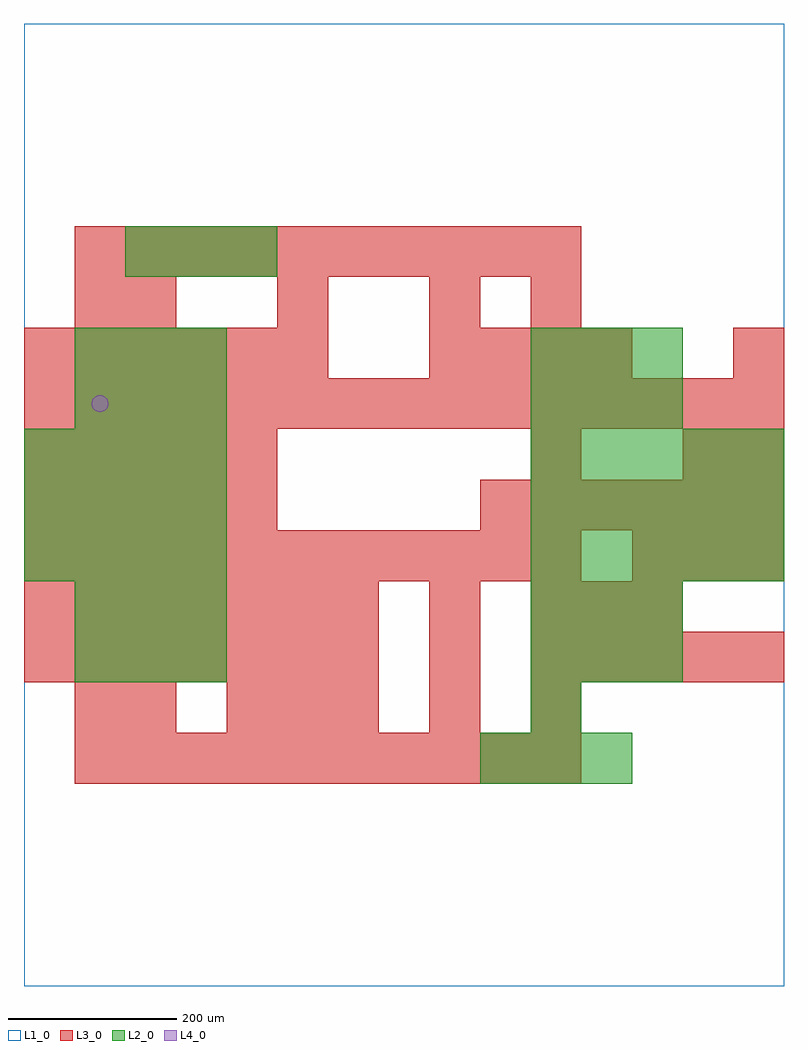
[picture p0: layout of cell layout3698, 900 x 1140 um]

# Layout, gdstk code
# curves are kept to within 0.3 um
import gdstk
lib = gdstk.Library(unit=1e-6, precision=1e-09)
def R(c, l, rs):  # rectangles x0, y0, x1, y1
    for r in rs: c.add(gdstk.rectangle(r[:2], r[2:], *l))
def A(c, l, x, y, w, h, nx, ny, dx, dy):  # array of equal rectangles
    R(c, l, [(x+i*dx, y+j*dy, x+i*dx+w, y+j*dy+h) for i in range(nx) for j in range(ny)])
def P(c, l, *ps):  # polygons
    for p in ps: c.add(gdstk.Polygon(p, *l))
L1_0 = (1, 0)
L2_0 = (2, 0)
L3_0 = (3, 0)
L4_0 = (4, 0)

layout3698 = lib.new_cell('layout3698')
R(layout3698, L1_0, [(0,0,900,1140)])
A(layout3698, L2_0, 540, 240, 60, 60, 3, 1, 60, 0)
A(layout3698, L2_0, 60, 360, 60, 60, 3, 2, 60, 60)
A(layout3698, L2_0, 600, 360, 60, 60, 3, 2, 60, 60)
A(layout3698, L2_0, 0, 480, 60, 60, 4, 3, 60, 60)
A(layout3698, L2_0, 600, 480, 60, 60, 5, 3, 60, 60)
A(layout3698, L2_0, 60, 660, 60, 60, 3, 2, 60, 60)
A(layout3698, L2_0, 600, 660, 60, 60, 3, 2, 60, 60)
A(layout3698, L2_0, 120, 840, 60, 60, 3, 1, 60, 0)
R(layout3698, L2_0, [(600,300,660,360)])
A(layout3698, L3_0, 60, 240, 60, 60, 10, 2, 60, 600)
A(layout3698, L3_0, 240, 300, 60, 60, 3, 1, 60, 0)
A(layout3698, L3_0, 480, 300, 60, 60, 1, 3, 0, 60)
A(layout3698, L3_0, 0, 360, 60, 60, 7, 2, 60, 60)
A(layout3698, L3_0, 600, 360, 60, 60, 5, 1, 60, 0)
A(layout3698, L3_0, 600, 420, 60, 60, 3, 1, 60, 0)
A(layout3698, L3_0, 0, 480, 60, 60, 11, 1, 60, 0)
A(layout3698, L3_0, 720, 480, 60, 60, 3, 1, 60, 0)
A(layout3698, L3_0, 0, 540, 60, 60, 5, 2, 60, 60)
A(layout3698, L3_0, 540, 540, 60, 60, 6, 1, 60, 0)
A(layout3698, L3_0, 0, 660, 60, 60, 15, 1, 60, 0)
A(layout3698, L3_0, 0, 720, 60, 60, 6, 1, 60, 0)
A(layout3698, L3_0, 480, 720, 60, 60, 4, 1, 60, 0)
A(layout3698, L3_0, 120, 780, 60, 60, 3, 1, 180, 0)
R(layout3698, L3_0, [(60,300,120,360), (120,300,180,360), (600,300,660,360), (600,600,660,660), (780,600,840,660), (840,600,900,660), (840,720,900,780), (60,780,120,840), (600,780,660,840)])
P(layout3698, L4_0, [(100,690),(99.239,693.827),(97.071,697.071),(93.827,699.239),(90,700),(86.173,699.239),(82.929,697.071),(80.761,693.827),(80,690),(80.761,686.173),(82.929,682.929),(86.173,680.761),(90,680),(93.827,680.761),(97.071,682.929),(99.239,686.173)])

lib.write_gds('layout3698.gds')
